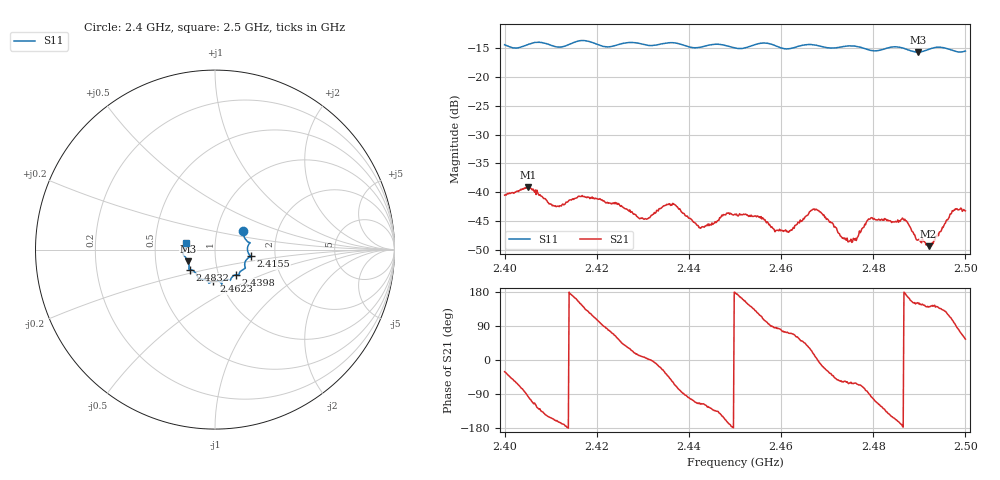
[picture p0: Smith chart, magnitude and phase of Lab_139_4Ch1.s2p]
# Hz S RI R 50
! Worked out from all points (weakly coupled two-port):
!   601 points, 2.4 GHz to 2.5 GHz, reference 50 ohm
!   highest |S21| = -39.07 dB at 2.405 GHz (marker M1); lowest = -49.3 dB at 2.492 GHz (marker M2)
!   lowest |S11| = -15.7 dB at 2.4897 GHz (marker M3), VSWR 1.39, Z = 36.7 - j4.94 ohm
!   |S11| at or under -10 dB: start of sweep to end of sweep
!   S12 and S22 are empty: the file has one direction only
!   S11 on the Smith chart (normalised r, x): 2.4 GHz: 1.34, +0.29; 2.4155 GHz: 1.49, -0.11; 2.4398 GHz: 1.21, -0.35; 2.4623 GHz: 0.92, -0.34; 2.4832 GHz: 0.74, -0.17; 2.5 GHz: 0.72, +0.05
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2.4e9  0.157 0.1057  0.00812 -0.00485  0 0  0 0
2.405e9  0.1848 0.0422  -0.00093 -0.0111  0 0  0 0
2.410833e9  0.1825 0.0157  -0.00711 -0.00274  0 0  0 0
2.4155e9  0.1979 -0.0364  -0.00847 0.00278  0 0  0 0
2.416667e9  0.2018 -0.0404  -0.00763 0.0052  0 0  0 0
2.429833e9  0.1569 -0.1106  0.00595 0.000938  0 0  0 0
2.433333e9  0.1343 -0.1342  0.00667 -0.00176  0 0  0 0
2.436667e9  0.1338 -0.1446  0.00387 -0.00691  0 0  0 0
2.439833e9  0.1169 -0.1396  -0.000942 -0.00599  0 0  0 0
2.442667e9  0.0936 -0.1545  -0.00211 -0.00448  0 0  0 0
2.45e9  0.064 -0.1656  -0.00648 0.000207  0 0  0 0
2.462333e9  -0.00888 -0.1762  0.00165 0.00441  0 0  0 0
2.466667e9  -0.0338 -0.1869  0.00643 0.00279  0 0  0 0
2.475e9  -0.0905 -0.1614  0.00187 -0.00332  0 0  0 0
2.479167e9  -0.1056 -0.1334  -5.36e-05 -0.00587  0 0  0 0
2.483167e9  -0.1385 -0.1114  -0.00446 -0.00366  0 0  0 0
2.483333e9  -0.1394 -0.1114  -0.00447 -0.00351  0 0  0 0
2.486833e9  -0.1447 -0.0988  -0.00586 0.000341  0 0  0 0
2.489667e9  -0.1496 -0.0656  -0.00339 0.00185  0 0  0 0
2.492e9  -0.1683 -0.038  -0.00261 0.00222  0 0  0 0
2.4975e9  -0.1675 -0.000492  -0.00104 0.00695  0 0  0 0
2.5e9  -0.1627 0.0369  0.00396 0.00567  0 0  0 0
